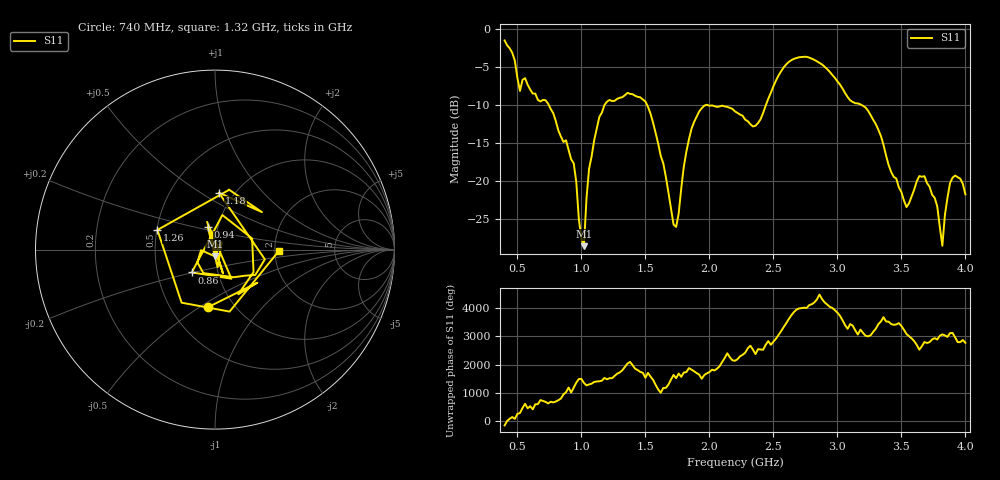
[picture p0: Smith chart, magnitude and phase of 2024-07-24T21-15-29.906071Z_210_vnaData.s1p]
!Created with skrf (http://scikit-rf.org).
# Hz S RI R 50.0
!freq ReS11 ImS11
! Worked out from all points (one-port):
!   181 points, 400 MHz to 4 GHz, reference 50 ohm
!   lowest |S11| = -28.6 dB at 1.02 GHz (marker M1), VSWR 1.08, Z = 49.8 - j3.72 ohm
!   |S11| at or under -10 dB: 1.515 GHz to 1.967 GHz (452.1 MHz wide, 26 % of centre); 1.992 GHz to 2.44 GHz (448.2 MHz wide, 20.2 % of centre); 3.194 GHz to end of sweep (the widest 3 of 4)
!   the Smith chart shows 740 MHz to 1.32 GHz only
!   S11 on the Smith chart (normalised r, x): 740 MHz: 0.75, -0.54; 860 MHz: 0.75, -0.20; 940 MHz: 0.90, +0.23; 1.18 GHz: 0.85, +0.60; 1.26 GHz: 0.50, +0.12; 1.32 GHz: 2.11, -0.02
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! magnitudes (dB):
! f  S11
! 400 MHz  -1.4
! 520 MHz  -8.1
! 740 MHz  -9.8
! 860 MHz  -14.8
! 940 MHz  -17.6
! 1.02 GHz  -28.6
! 1.06 GHz  -18.3
! 1.18 GHz  -10.0
! 1.26 GHz  -9.4
! 1.3 GHz  -9.0
! 1.32 GHz  -8.9
! 1.52 GHz  -10.2
! 1.72 GHz  -25.7
! 1.76 GHz  -24.2
! 1.82 GHz  -16.1
! 1.92 GHz  -10.8
! 2.2 GHz  -10.8
! 2.36 GHz  -12.7
! 2.66 GHz  -3.9
! 2.88 GHz  -4.6
! 3.1 GHz  -9.3
! 3.3 GHz  -12.5
! 3.56 GHz  -22.9
! 3.68 GHz  -19.3
! 3.78 GHz  -23.3
! 3.82 GHz  -28.5
! 3.88 GHz  -20.2
! 4 GHz  -21.7
